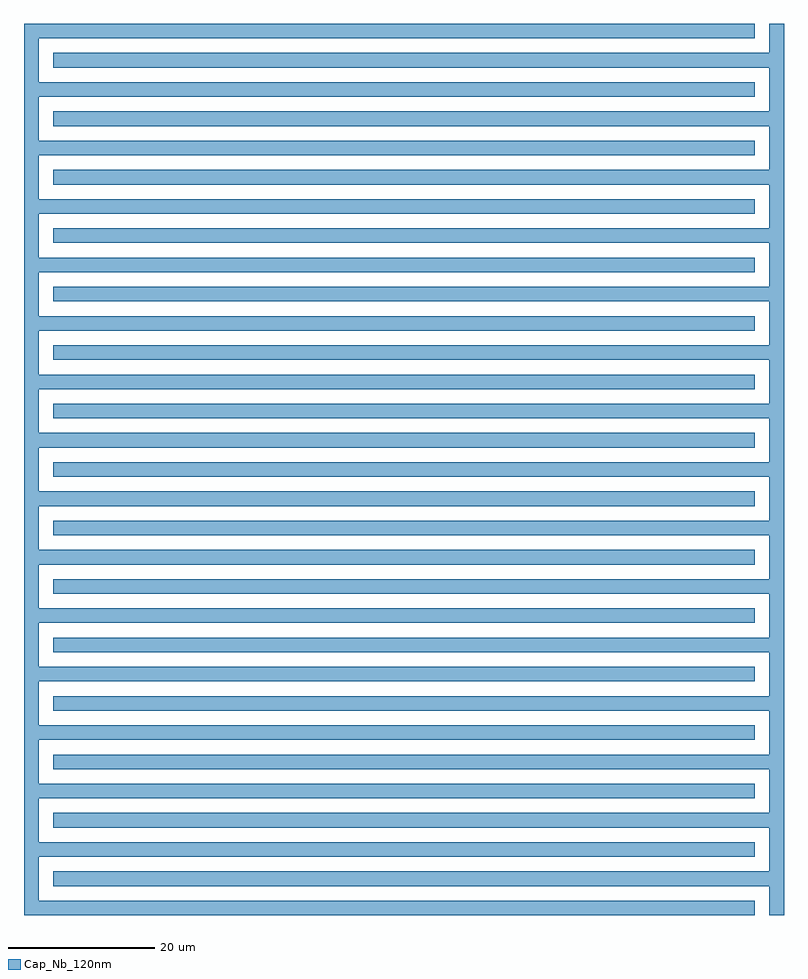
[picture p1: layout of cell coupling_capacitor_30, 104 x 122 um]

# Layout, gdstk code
import gdstk
lib = gdstk.Library(unit=1e-6, precision=1e-09)
def R(c, l, rs):  # rectangles x0, y0, x1, y1
    for r in rs: c.add(gdstk.rectangle(r[:2], r[2:], *l))
def A(c, l, x, y, w, h, nx, ny, dx, dy):  # array of equal rectangles
    R(c, l, [(x+i*dx, y+j*dy, x+i*dx+w, y+j*dy+h) for i in range(nx) for j in range(ny)])
Cap_Nb_120nm = (6, 0)

coupling_capacitor_30 = lib.new_cell('coupling_capacitor_30')
A(coupling_capacitor_30, Cap_Nb_120nm, -50, -61, 98, 2, 1, 16, 0, 8)
A(coupling_capacitor_30, Cap_Nb_120nm, -48, -57, 98, 2, 1, 15, 0, 8)
R(coupling_capacitor_30, Cap_Nb_120nm, [(-52,-61,-50,61), (50,-61,52,61)])

lib.write_gds('coupling_capacitor_30.gds')
